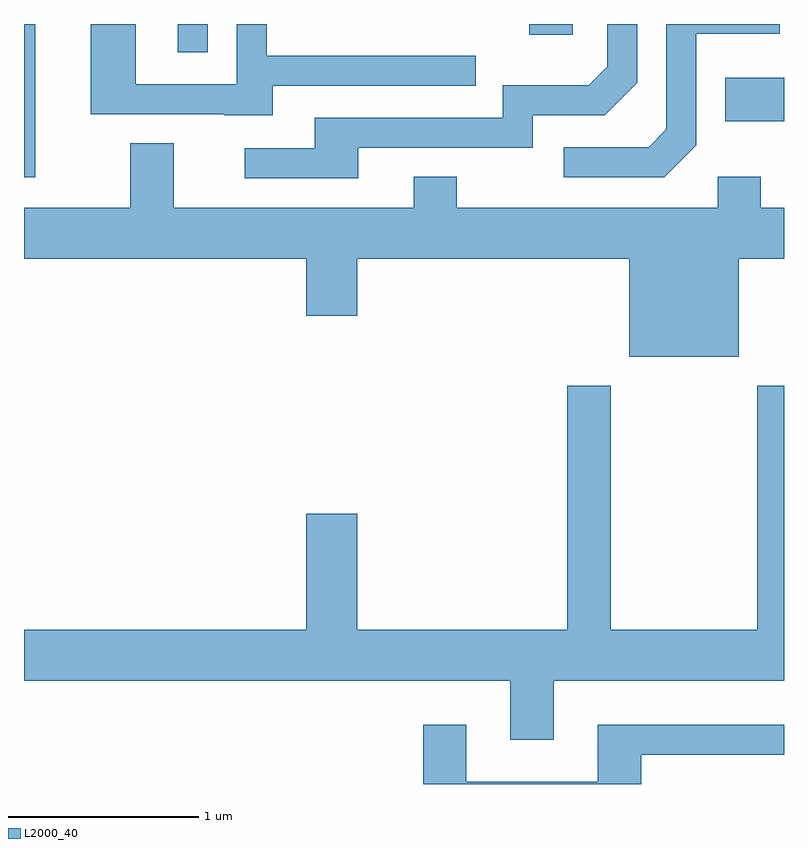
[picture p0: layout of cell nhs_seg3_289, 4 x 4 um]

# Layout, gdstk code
import gdstk
lib = gdstk.Library(unit=1e-6, precision=1e-09)
def R(c, l, rs):  # rectangles x0, y0, x1, y1
    for r in rs: c.add(gdstk.rectangle(r[:2], r[2:], *l))
def P(c, l, *ps):  # polygons
    for p in ps: c.add(gdstk.Polygon(p, *l))
L2000_40 = (2000, 40)

nhs_seg3_289 = lib.new_cell('nhs_seg3_289')
R(nhs_seg3_289, L2000_40, [(193.611,1153.086,193.669,1153.892), (197.301,1153.381,197.611,1153.609), (194.421,1153.743,194.579,1153.892)])
P(nhs_seg3_289, L2000_40, [(195.369,1153.241),(196.289,1153.241),(196.289,1153.411),(196.667,1153.411),(196.839,1153.584),(196.839,1153.892),(196.681,1153.892),(196.681,1153.667),(196.584,1153.569),(196.131,1153.569),(196.131,1153.399),(195.141,1153.399),(195.141,1153.239),(194.773,1153.239),(194.773,1153.081),(195.369,1153.081)],
  [(197.149,1153.254),(197.149,1153.841),(197.589,1153.841),(197.589,1153.892),(196.991,1153.892),(196.991,1153.337),(196.899,1153.244),(196.453,1153.244),(196.453,1153.086),(196.982,1153.086)],
  [(196.499,1153.892),(195.041,1153.892),(195.041,1153.891),(196.271,1153.891),(196.271,1153.836),(196.499,1153.836)],
  [(194.919,1153.566),(195.988,1153.566),(195.988,1153.724),(194.889,1153.724),(194.889,1153.892),(194.731,1153.892),(194.731,1153.574),(194.199,1153.574),(194.199,1153.892),(193.961,1153.892),(193.961,1153.416),(194.665,1153.416),(194.665,1153.411),(194.919,1153.411)],
  [(197.374,1152.656),(197.611,1152.656),(197.611,1152.924),(197.489,1152.924),(197.489,1153.089),(197.261,1153.089),(197.261,1152.924),(195.889,1152.924),(195.889,1153.089),(195.661,1153.089),(195.661,1152.924),(194.399,1152.924),(194.399,1153.264),(194.171,1153.264),(194.171,1152.924),(193.611,1152.924),(193.611,1152.656),(195.096,1152.656),(195.096,1152.356),(195.364,1152.356),(195.364,1152.656),(196.796,1152.656),(196.796,1152.141),(197.374,1152.141)],
  [(196.399,1150.436),(197.611,1150.436),(197.611,1151.989),(197.471,1151.989),(197.471,1150.704),(196.699,1150.704),(196.699,1151.989),(196.471,1151.989),(196.471,1150.704),(195.364,1150.704),(195.364,1151.314),(195.096,1151.314),(195.096,1150.704),(193.611,1150.704),(193.611,1150.436),(196.171,1150.436),(196.171,1150.126),(196.399,1150.126)],
  [(196.859,1150.046),(197.611,1150.046),(197.611,1150.204),(196.631,1150.204),(196.631,1149.904),(195.939,1149.904),(195.939,1150.204),(195.711,1150.204),(195.711,1149.892),(196.859,1149.892)])

lib.write_gds('nhs_seg3_289.gds')
